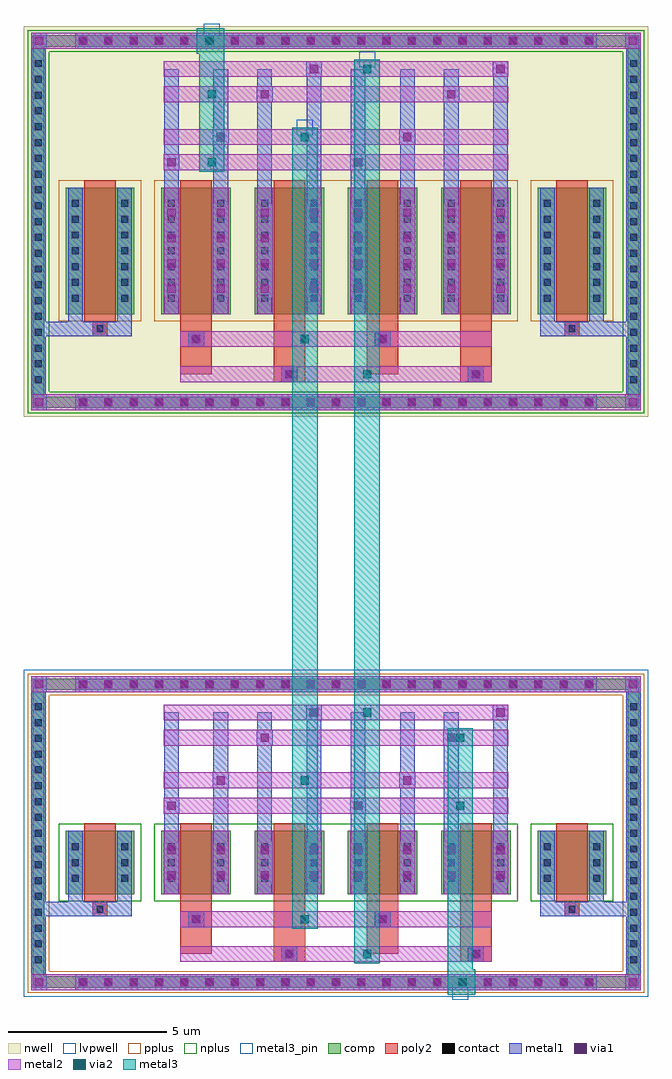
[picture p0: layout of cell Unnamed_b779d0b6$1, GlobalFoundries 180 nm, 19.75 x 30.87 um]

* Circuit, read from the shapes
.subckt Unnamed_b779d0b6$1 VSS
XM1 VSS VSS VSS VSS nfet_03v3 w=2u l=1u m=2
XM2 Unnamed_da7ad64b_1/VMID1 Unnamed_da7ad64b_1/VMID1 VSS VSS nfet_03v3 w=2u l=1u m=2
XM3 Unnamed_821312c5_2/VMID2 Unnamed_821312c5_2/VMID2 VSS VSS nfet_03v3 w=2u l=1u m=2
XM4 Unnamed_36bb551c_0/VRECT Unnamed_36bb551c_0/VRECT Unnamed_36bb551c_0/VRECT Unnamed_36bb551c_0/VRECT pfet_03v3 w=4u l=1u m=2
XM5 Unnamed_da7ad64b_1/VMID1 Unnamed_da7ad64b_1/VMID1 Unnamed_36bb551c_0/VRECT Unnamed_36bb551c_0/VRECT pfet_03v3 w=4u l=1u m=2
XM6 Unnamed_821312c5_2/VMID2 Unnamed_821312c5_2/VMID2 Unnamed_36bb551c_0/VRECT Unnamed_36bb551c_0/VRECT pfet_03v3 w=4u l=1u m=2
.ends

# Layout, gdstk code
import gdstk
lib = gdstk.Library(unit=1e-6, precision=5e-09)
def R(c, l, rs):  # rectangles x0, y0, x1, y1
    for r in rs: c.add(gdstk.rectangle(r[:2], r[2:], *l))
def A(c, l, x, y, w, h, nx, ny, dx, dy):  # array of equal rectangles
    R(c, l, [(x+i*dx, y+j*dy, x+i*dx+w, y+j*dy+h) for i in range(nx) for j in range(ny)])
def P(c, l, *ps):  # polygons
    for p in ps: c.add(gdstk.Polygon(p, *l))
nwell = (21, 0)
comp = (22, 0)
poly2 = (30, 0)
pplus = (31, 0)
nplus = (32, 0)
contact = (33, 0)
metal1 = (34, 0)
via1 = (35, 0)
metal2 = (36, 0)
via2 = (38, 0)
metal3 = (42, 0)
metal3_pin = (42, 10)
lvpwell = (204, 0)

compass_65197a3d_4 = lib.new_cell('compass_65197a3d$4')
R(compass_65197a3d_4, metal3_pin, [(-0.25,-0.25,0.25,0.25)])

unnamed_36bb551c = lib.new_cell('Unnamed_36bb551c')
unnamed_36bb551c.add(gdstk.Reference(compass_65197a3d_4, (0,0)))
unnamed_36bb551c.add(gdstk.Label('VRECT', (0,0), layer=42, texttype=10))

compass_65197a3d_5 = lib.new_cell('compass_65197a3d$5')
R(compass_65197a3d_5, metal3_pin, [(-0.25,-0.25,0.25,0.25)])

unnamed_da7ad64b = lib.new_cell('Unnamed_da7ad64b')
unnamed_da7ad64b.add(gdstk.Reference(compass_65197a3d_5, (0,0)))
unnamed_da7ad64b.add(gdstk.Label('VMID1', (0,0), layer=42, texttype=10))

compass_65197a3d_6 = lib.new_cell('compass_65197a3d$6')
R(compass_65197a3d_6, metal3_pin, [(-0.25,-0.25,0.25,0.25)])

unnamed_821312c5 = lib.new_cell('Unnamed_821312c5')
unnamed_821312c5.add(gdstk.Reference(compass_65197a3d_6, (0,0)))
unnamed_821312c5.add(gdstk.Label('VMID2', (0,0), layer=42, texttype=10))

compass_65197a3d_7 = lib.new_cell('compass_65197a3d$7')
R(compass_65197a3d_7, metal3_pin, [(-0.25,-0.25,0.25,0.25)])

unnamed_ed80099e = lib.new_cell('Unnamed_ed80099e')
unnamed_ed80099e.add(gdstk.Reference(compass_65197a3d_7, (0,0)))
unnamed_ed80099e.add(gdstk.Label('VSS', (0,0), layer=42, texttype=10))

unnamed_b779d0b6_1 = lib.new_cell('Unnamed_b779d0b6$1')
R(unnamed_b779d0b6_1, nwell, [(-9.875,13.17,9.875,25.52), (-9.715,13.33,9.715,25.36)])
A(unnamed_b779d0b6_1, comp, -8.18, -4.89, 0.36, 0.36, 21, 2, 0.8, 9.42)
A(unnamed_b779d0b6_1, comp, -9.595, -4.18, 0.36, 0.36, 1, 17, 0, 0.5)
A(unnamed_b779d0b6_1, comp, 9.235, -4.18, 0.36, 0.36, 1, 17, 0, 0.5)
A(unnamed_b779d0b6_1, comp, -5.525, -1.93, 2.2, 2, 4, 1, 2.95, 0)
A(unnamed_b779d0b6_1, comp, -8.18, 13.45, 0.36, 0.36, 21, 2, 0.8, 11.43)
A(unnamed_b779d0b6_1, comp, -9.595, 14.165, 0.36, 0.36, 1, 21, 0, 0.5)
A(unnamed_b779d0b6_1, comp, 9.235, 14.165, 0.36, 0.36, 1, 21, 0, 0.5)
A(unnamed_b779d0b6_1, comp, -5.525, 16.42, 2.2, 4, 4, 1, 2.95, 0)
R(unnamed_b779d0b6_1, comp, [(-8.18,-4.89,8.18,-4.53), (-9.595,-4.18,-9.235,4.18), (9.235,-4.18,9.595,4.18), (-8.545,-1.93,-6.385,0.07), (6.385,-1.93,8.545,0.07), (-8.18,4.53,8.18,4.89), (-8.18,13.45,8.18,13.81), (-9.595,14.165,-9.235,24.525), (9.235,14.165,9.595,24.525), (-8.545,16.42,-6.385,20.42), (6.385,16.42,8.545,20.42), (-8.18,24.88,8.18,25.24)])
P(unnamed_b779d0b6_1, comp, [(9.595,25.24),(-9.595,25.24),(-9.595,13.81),(-9.235,13.81),(-9.235,24.88),(9.235,24.88),(9.235,13.81),(-9.235,13.81),(-9.595,13.81),(-9.595,13.45),(9.595,13.45)],
  [(9.595,4.89),(-9.595,4.89),(-9.595,-4.53),(-9.235,-4.53),(-9.235,4.53),(9.235,4.53),(9.235,-4.53),(-9.235,-4.53),(-9.595,-4.53),(-9.595,-4.89),(9.595,-4.89)])
A(unnamed_b779d0b6_1, poly2, -4.925, -2.17, 1, 2.48, 4, 1, 2.95, 0)
A(unnamed_b779d0b6_1, poly2, -4.925, 16.18, 1, 4.48, 4, 1, 2.95, 0)
R(unnamed_b779d0b6_1, poly2, [(-1.975,-4.07,-0.975,-3.57), (3.925,-4.07,4.925,-3.57), (-1.655,-4,-1.295,-3.64), (4.245,-4,4.605,-3.64), (-4.925,-3.82,-3.925,-2.17), (0.975,-3.82,1.975,-2.17), (-1.975,-3.57,-0.975,-2.17), (3.925,-3.57,4.925,-2.17), (-4.925,-2.97,-3.925,-2.47), (0.975,-2.97,1.975,-2.47), (-4.605,-2.9,-4.245,-2.54), (1.295,-2.9,1.655,-2.54), (-7.695,-2.63,-7.235,-2.17), (7.235,-2.63,7.695,-2.17), (-7.645,-2.58,-7.285,-2.22), (7.285,-2.58,7.645,-2.22), (-4.925,-2.47,-3.925,-2.17), (0.975,-2.47,1.975,-2.17), (-7.965,-2.17,-6.965,0.31), (6.965,-2.17,7.965,0.31), (-1.975,14.27,-0.975,14.77), (3.925,14.27,4.925,14.77), (-1.655,14.34,-1.295,14.7), (4.245,14.34,4.605,14.7), (-4.925,14.52,-3.925,16.18), (0.975,14.52,1.975,16.18), (-1.975,14.77,-0.975,16.18), (3.925,14.77,4.925,16.18), (-4.925,15.38,-3.925,15.88), (0.975,15.38,1.975,15.88), (-4.605,15.45,-4.245,15.81), (1.295,15.45,1.655,15.81), (-7.695,15.72,-7.235,16.18), (7.235,15.72,7.695,16.18), (-7.645,15.77,-7.285,16.13), (7.285,15.77,7.645,16.13), (-4.925,15.88,-3.925,16.18), (0.975,15.88,1.975,16.18), (-7.965,16.18,-6.965,20.66), (6.965,16.18,7.965,20.66)])
A(unnamed_b779d0b6_1, pplus, -5.755, 16.19, 2.66, 4.46, 4, 1, 2.95, 0)
R(unnamed_b779d0b6_1, pplus, [(-8.775,16.19,-6.155,20.65), (-5.755,16.19,5.755,20.65), (6.155,16.19,8.775,20.65)])
P(unnamed_b779d0b6_1, pplus, [(9.755,5.05),(-9.755,5.05),(-9.755,-4.37),(-9.075,-4.37),(-9.075,4.37),(9.075,4.37),(9.075,-4.37),(-9.075,-4.37),(-9.755,-4.37),(-9.755,-5.05),(9.755,-5.05)])
A(unnamed_b779d0b6_1, nplus, -5.755, -2.16, 2.66, 2.46, 4, 1, 2.95, 0)
R(unnamed_b779d0b6_1, nplus, [(-8.775,-2.16,-6.155,0.3), (-5.755,-2.16,5.755,0.3), (6.155,-2.16,8.775,0.3)])
P(unnamed_b779d0b6_1, nplus, [(9.755,25.4),(-9.755,25.4),(-9.755,13.97),(-9.075,13.97),(-9.075,24.72),(9.075,24.72),(9.075,13.97),(-9.075,13.97),(-9.755,13.97),(-9.755,13.29),(9.755,13.29)])
A(unnamed_b779d0b6_1, contact, -8.11, -4.82, 0.22, 0.22, 21, 2, 0.8, 9.42)
A(unnamed_b779d0b6_1, contact, -9.525, -4.11, 0.22, 0.22, 1, 17, 0, 0.5)
A(unnamed_b779d0b6_1, contact, 9.305, -4.11, 0.22, 0.22, 1, 17, 0, 0.5)
A(unnamed_b779d0b6_1, contact, -8.355, -1.54, 0.22, 0.22, 1, 3, 0, 0.5)
A(unnamed_b779d0b6_1, contact, -6.795, -1.54, 0.22, 0.22, 1, 3, 0, 0.5)
A(unnamed_b779d0b6_1, contact, -5.315, -1.54, 0.22, 0.22, 1, 3, 0, 0.5)
A(unnamed_b779d0b6_1, contact, -3.755, -1.54, 0.22, 0.22, 1, 3, 0, 0.5)
A(unnamed_b779d0b6_1, contact, -2.365, -1.54, 0.22, 0.22, 1, 3, 0, 0.5)
A(unnamed_b779d0b6_1, contact, -0.805, -1.54, 0.22, 0.22, 1, 3, 0, 0.5)
A(unnamed_b779d0b6_1, contact, 0.585, -1.54, 0.22, 0.22, 1, 3, 0, 0.5)
A(unnamed_b779d0b6_1, contact, 2.145, -1.54, 0.22, 0.22, 1, 3, 0, 0.5)
A(unnamed_b779d0b6_1, contact, 3.535, -1.54, 0.22, 0.22, 1, 3, 0, 0.5)
A(unnamed_b779d0b6_1, contact, 5.095, -1.54, 0.22, 0.22, 1, 3, 0, 0.5)
A(unnamed_b779d0b6_1, contact, 6.575, -1.54, 0.22, 0.22, 1, 3, 0, 0.5)
A(unnamed_b779d0b6_1, contact, 8.135, -1.54, 0.22, 0.22, 1, 3, 0, 0.5)
A(unnamed_b779d0b6_1, contact, -8.11, 13.52, 0.22, 0.22, 21, 2, 0.8, 11.43)
A(unnamed_b779d0b6_1, contact, -9.525, 14.235, 0.22, 0.22, 1, 21, 0, 0.5)
A(unnamed_b779d0b6_1, contact, 9.305, 14.235, 0.22, 0.22, 1, 21, 0, 0.5)
A(unnamed_b779d0b6_1, contact, -8.355, 16.81, 0.22, 0.22, 1, 7, 0, 0.5)
A(unnamed_b779d0b6_1, contact, -6.795, 16.81, 0.22, 0.22, 1, 7, 0, 0.5)
A(unnamed_b779d0b6_1, contact, -5.315, 16.81, 0.22, 0.22, 1, 7, 0, 0.5)
A(unnamed_b779d0b6_1, contact, -3.755, 16.81, 0.22, 0.22, 1, 7, 0, 0.5)
A(unnamed_b779d0b6_1, contact, -2.365, 16.81, 0.22, 0.22, 1, 7, 0, 0.5)
A(unnamed_b779d0b6_1, contact, -0.805, 16.81, 0.22, 0.22, 1, 7, 0, 0.5)
A(unnamed_b779d0b6_1, contact, 0.585, 16.81, 0.22, 0.22, 1, 7, 0, 0.5)
A(unnamed_b779d0b6_1, contact, 2.145, 16.81, 0.22, 0.22, 1, 7, 0, 0.5)
A(unnamed_b779d0b6_1, contact, 3.535, 16.81, 0.22, 0.22, 1, 7, 0, 0.5)
A(unnamed_b779d0b6_1, contact, 5.095, 16.81, 0.22, 0.22, 1, 7, 0, 0.5)
A(unnamed_b779d0b6_1, contact, 6.575, 16.81, 0.22, 0.22, 1, 7, 0, 0.5)
A(unnamed_b779d0b6_1, contact, 8.135, 16.81, 0.22, 0.22, 1, 7, 0, 0.5)
R(unnamed_b779d0b6_1, contact, [(-1.585,-3.93,-1.365,-3.71), (4.315,-3.93,4.535,-3.71), (-4.535,-2.83,-4.315,-2.61), (1.365,-2.83,1.585,-2.61), (-7.575,-2.51,-7.355,-2.29), (7.355,-2.51,7.575,-2.29), (-1.585,14.41,-1.365,14.63), (4.315,14.41,4.535,14.63), (-4.535,15.52,-4.315,15.74), (1.365,15.52,1.585,15.74), (-7.575,15.84,-7.355,16.06), (7.355,15.84,7.575,16.06)])
A(unnamed_b779d0b6_1, metal1, -8.25, -4.96, 0.5, 0.5, 21, 2, 0.8, 9.42)
A(unnamed_b779d0b6_1, metal1, -9.645, -4.23, 0.46, 0.46, 1, 17, 0, 0.5)
A(unnamed_b779d0b6_1, metal1, 9.185, -4.23, 0.46, 0.46, 1, 17, 0, 0.5)
A(unnamed_b779d0b6_1, metal1, -8.475, -1.66, 0.46, 0.46, 1, 3, 0, 0.5)
A(unnamed_b779d0b6_1, metal1, -6.915, -1.66, 0.46, 0.46, 1, 3, 0, 0.5)
A(unnamed_b779d0b6_1, metal1, -5.435, -1.66, 0.46, 0.46, 1, 3, 0, 0.5)
A(unnamed_b779d0b6_1, metal1, -3.875, -1.66, 0.46, 0.46, 1, 3, 0, 0.5)
A(unnamed_b779d0b6_1, metal1, -2.485, -1.66, 0.46, 0.46, 1, 3, 0, 0.5)
A(unnamed_b779d0b6_1, metal1, -0.925, -1.66, 0.46, 0.46, 1, 3, 0, 0.5)
A(unnamed_b779d0b6_1, metal1, 0.465, -1.66, 0.46, 0.46, 1, 3, 0, 0.5)
A(unnamed_b779d0b6_1, metal1, 2.025, -1.66, 0.46, 0.46, 1, 3, 0, 0.5)
A(unnamed_b779d0b6_1, metal1, 3.415, -1.66, 0.46, 0.46, 1, 3, 0, 0.5)
A(unnamed_b779d0b6_1, metal1, 4.975, -1.66, 0.46, 0.46, 1, 3, 0, 0.5)
A(unnamed_b779d0b6_1, metal1, 6.455, -1.66, 0.46, 0.46, 1, 3, 0, 0.5)
A(unnamed_b779d0b6_1, metal1, 8.015, -1.66, 0.46, 0.46, 1, 3, 0, 0.5)
A(unnamed_b779d0b6_1, metal1, -8.25, 13.38, 0.5, 0.5, 21, 2, 0.8, 11.43)
A(unnamed_b779d0b6_1, metal1, -9.645, 14.115, 0.46, 0.46, 1, 21, 0, 0.5)
A(unnamed_b779d0b6_1, metal1, 9.185, 14.115, 0.46, 0.46, 1, 21, 0, 0.5)
A(unnamed_b779d0b6_1, metal1, -8.475, 16.69, 0.46, 0.46, 1, 7, 0, 0.5)
A(unnamed_b779d0b6_1, metal1, -6.915, 16.69, 0.46, 0.46, 1, 7, 0, 0.5)
A(unnamed_b779d0b6_1, metal1, -5.435, 16.69, 0.46, 0.46, 1, 7, 0, 0.5)
A(unnamed_b779d0b6_1, metal1, -3.875, 16.69, 0.46, 0.46, 1, 7, 0, 0.5)
A(unnamed_b779d0b6_1, metal1, -2.485, 16.69, 0.46, 0.46, 1, 7, 0, 0.5)
A(unnamed_b779d0b6_1, metal1, -0.925, 16.69, 0.46, 0.46, 1, 7, 0, 0.5)
A(unnamed_b779d0b6_1, metal1, 0.465, 16.69, 0.46, 0.46, 1, 7, 0, 0.5)
A(unnamed_b779d0b6_1, metal1, 2.025, 16.69, 0.46, 0.46, 1, 7, 0, 0.5)
A(unnamed_b779d0b6_1, metal1, 3.415, 16.69, 0.46, 0.46, 1, 7, 0, 0.5)
A(unnamed_b779d0b6_1, metal1, 4.975, 16.69, 0.46, 0.46, 1, 7, 0, 0.5)
A(unnamed_b779d0b6_1, metal1, 6.455, 16.69, 0.46, 0.46, 1, 7, 0, 0.5)
A(unnamed_b779d0b6_1, metal1, 8.015, 16.69, 0.46, 0.46, 1, 7, 0, 0.5)
A(unnamed_b779d0b6_1, metal1, -5.455, 16.97, 0.5, 0.5, 1, 4, 0, 0.8)
A(unnamed_b779d0b6_1, metal1, -3.895, 16.97, 0.5, 0.5, 1, 4, 0, 0.8)
A(unnamed_b779d0b6_1, metal1, -2.505, 16.97, 0.5, 0.5, 1, 4, 0, 0.8)
A(unnamed_b779d0b6_1, metal1, -0.945, 16.97, 0.5, 0.5, 1, 4, 0, 0.8)
A(unnamed_b779d0b6_1, metal1, 0.445, 16.97, 0.5, 0.5, 1, 4, 0, 0.8)
A(unnamed_b779d0b6_1, metal1, 2.005, 16.97, 0.5, 0.5, 1, 4, 0, 0.8)
A(unnamed_b779d0b6_1, metal1, 3.395, 16.97, 0.5, 0.5, 1, 4, 0, 0.8)
A(unnamed_b779d0b6_1, metal1, 4.955, 16.97, 0.5, 0.5, 1, 4, 0, 0.8)
R(unnamed_b779d0b6_1, metal1, [(-9.645,-4.96,-9.145,-4.46), (-9.645,-4.96,-9.145,-4.46), (-9.645,-4.96,-9.185,-4.53), (-8.25,-4.96,8.25,-4.46), (9.145,-4.96,9.645,-4.46), (9.145,-4.96,9.645,-4.46), (9.185,-4.96,9.645,-4.53), (-9.645,-4.53,-9.185,4.53), (9.185,-4.53,9.645,4.53), (-1.725,-4.07,-1.225,-3.57), (4.175,-4.07,4.675,-3.57), (-4.675,-2.97,-4.175,-2.47), (1.225,-2.97,1.725,-2.47), (-9.645,-2.63,-7.695,-2.17), (-8.475,-2.63,-7.695,-2.17), (-8.475,-2.63,-8.015,-1.93), (-7.695,-2.63,-7.235,-2.17), (-7.235,-2.63,-6.455,-2.17), (-6.915,-2.63,-6.455,-1.93), (6.455,-2.63,7.235,-2.17), (6.455,-2.63,6.915,-1.93), (7.235,-2.63,7.695,-2.17), (7.695,-2.63,8.475,-2.17), (7.695,-2.63,9.645,-2.17), (8.015,-2.63,8.475,-1.93), (-8.475,-1.93,-8.015,0.07), (-6.915,-1.93,-6.455,0.07), (-5.435,-1.93,-4.975,0.07), (-3.875,-1.93,-3.415,0.07), (-2.485,-1.93,-2.025,0.07), (-0.925,-1.93,-0.465,0.07), (0.465,-1.93,0.925,0.07), (2.025,-1.93,2.485,0.07), (3.415,-1.93,3.875,0.07), (4.975,-1.93,5.435,0.07), (6.455,-1.93,6.915,0.07), (8.015,-1.93,8.475,0.07), (-5.455,-1.58,-4.955,-1.08), (-5.455,-1.58,-4.955,-0.28), (-3.895,-1.58,-3.395,-1.08), (-3.895,-1.58,-3.395,-0.28), (-2.505,-1.58,-2.005,-1.08), (-2.505,-1.58,-2.005,-0.28), (-0.945,-1.58,-0.445,-1.08), (-0.945,-1.58,-0.445,-0.28), (0.445,-1.58,0.945,-1.08), (0.445,-1.58,0.945,-0.28), (2.005,-1.58,2.505,-1.08), (2.005,-1.58,2.505,-0.28), (3.395,-1.58,3.895,-1.08), (3.395,-1.58,3.895,-0.28), (4.955,-1.58,5.455,-1.08), (4.955,-1.58,5.455,-0.28), (-5.455,-0.78,-4.955,-0.28), (-3.895,-0.78,-3.395,-0.28), (-2.505,-0.78,-2.005,-0.28), (-0.945,-0.78,-0.445,-0.28), (0.445,-0.78,0.945,-0.28), (2.005,-0.78,2.505,-0.28), (3.395,-0.78,3.895,-0.28), (4.955,-0.78,5.455,-0.28), (-5.435,0.07,-4.975,1.12), (-5.435,0.07,-4.975,3.82), (-3.875,0.07,-3.415,1.92), (-3.875,0.07,-3.415,3.82), (-2.485,0.07,-2.025,3.27), (-2.485,0.07,-2.025,3.82), (-0.925,0.07,-0.465,4.07), (-0.925,0.07,-0.465,3.82), (0.465,0.07,0.925,1.12), (0.465,0.07,0.925,3.82), (2.025,0.07,2.485,1.92), (2.025,0.07,2.485,3.82), (3.415,0.07,3.875,3.27), (3.415,0.07,3.875,3.82), (4.975,0.07,5.435,4.07), (4.975,0.07,5.435,3.82), (-5.455,0.62,-4.955,1.12), (0.445,0.62,0.945,1.12), (-3.895,1.42,-3.395,1.92), (2.005,1.42,2.505,1.92), (-2.505,2.77,-2.005,3.27), (3.395,2.77,3.895,3.27), (-0.945,3.57,-0.445,4.07), (4.955,3.57,5.455,4.07), (-9.645,4.46,-9.145,4.96), (-9.645,4.46,-9.145,4.96), (-8.25,4.46,8.25,4.96), (9.145,4.46,9.645,4.96), (9.145,4.46,9.645,4.96), (-9.645,4.53,-9.185,4.96), (9.185,4.53,9.645,4.96), (-9.645,13.38,-9.145,13.88), (-9.645,13.38,-9.145,13.88), (-9.645,13.38,-9.185,13.81), (-8.25,13.38,8.25,13.88), (9.145,13.38,9.645,13.88), (9.145,13.38,9.645,13.88), (9.185,13.38,9.645,13.81), (-9.645,13.81,-9.185,24.88), (9.185,13.81,9.645,24.88), (-1.725,14.27,-1.225,14.77), (4.175,14.27,4.675,14.77), (-4.675,15.38,-4.175,15.88), (1.225,15.38,1.725,15.88), (-9.645,15.72,-7.695,16.18), (-8.475,15.72,-7.695,16.18), (-8.475,15.72,-8.015,16.42), (-7.695,15.72,-7.235,16.18), (-7.235,15.72,-6.455,16.18), (-6.915,15.72,-6.455,16.42), (6.455,15.72,7.235,16.18), (6.455,15.72,6.915,16.42), (7.235,15.72,7.695,16.18), (7.695,15.72,8.475,16.18), (7.695,15.72,9.645,16.18), (8.015,15.72,8.475,16.42), (-8.475,16.42,-8.015,20.42), (-6.915,16.42,-6.455,20.42), (-5.435,16.42,-4.975,20.42), (-3.875,16.42,-3.415,20.42), (-2.485,16.42,-2.025,20.42), (-0.925,16.42,-0.465,20.42), (0.465,16.42,0.925,20.42), (2.025,16.42,2.485,20.42), (3.415,16.42,3.875,20.42), (4.975,16.42,5.435,20.42), (6.455,16.42,6.915,20.42), (8.015,16.42,8.475,20.42), (-5.455,16.97,-4.955,19.87), (-3.895,16.97,-3.395,19.87), (-2.505,16.97,-2.005,19.87), (-0.945,16.97,-0.445,19.87), (0.445,16.97,0.945,19.87), (2.005,16.97,2.505,19.87), (3.395,16.97,3.895,19.87), (4.955,16.97,5.455,19.87), (-5.435,20.42,-4.975,21.47), (-5.435,20.42,-4.975,24.17), (-3.875,20.42,-3.415,22.27), (-3.875,20.42,-3.415,24.17), (-2.485,20.42,-2.025,23.62), (-2.485,20.42,-2.025,24.17), (-0.925,20.42,-0.465,24.42), (-0.925,20.42,-0.465,24.17), (0.465,20.42,0.925,21.47), (0.465,20.42,0.925,24.17), (2.025,20.42,2.485,22.27), (2.025,20.42,2.485,24.17), (3.415,20.42,3.875,23.62), (3.415,20.42,3.875,24.17), (4.975,20.42,5.435,24.42), (4.975,20.42,5.435,24.17), (-5.455,20.97,-4.955,21.47), (0.445,20.97,0.945,21.47), (-3.895,21.77,-3.395,22.27), (2.005,21.77,2.505,22.27), (-2.505,23.12,-2.005,23.62), (3.395,23.12,3.895,23.62), (-0.945,23.92,-0.445,24.42), (4.955,23.92,5.455,24.42), (-9.645,24.81,-9.145,25.31), (-9.645,24.81,-9.145,25.31), (-8.25,24.81,8.25,25.31), (9.145,24.81,9.645,25.31), (9.145,24.81,9.645,25.31), (-9.645,24.88,-9.185,25.31), (9.185,24.88,9.645,25.31)])
A(unnamed_b779d0b6_1, via1, -8.13, -4.84, 0.26, 0.26, 21, 2, 0.8, 9.42)
A(unnamed_b779d0b6_1, via1, -8.13, 13.5, 0.26, 0.26, 21, 2, 0.8, 11.43)
A(unnamed_b779d0b6_1, via1, -5.335, 17.09, 0.26, 0.26, 1, 4, 0, 0.8)
A(unnamed_b779d0b6_1, via1, -3.775, 17.09, 0.26, 0.26, 1, 4, 0, 0.8)
A(unnamed_b779d0b6_1, via1, -2.385, 17.09, 0.26, 0.26, 1, 4, 0, 0.8)
A(unnamed_b779d0b6_1, via1, -0.825, 17.09, 0.26, 0.26, 1, 4, 0, 0.8)
A(unnamed_b779d0b6_1, via1, 0.565, 17.09, 0.26, 0.26, 1, 4, 0, 0.8)
A(unnamed_b779d0b6_1, via1, 2.125, 17.09, 0.26, 0.26, 1, 4, 0, 0.8)
A(unnamed_b779d0b6_1, via1, 3.515, 17.09, 0.26, 0.26, 1, 4, 0, 0.8)
A(unnamed_b779d0b6_1, via1, 5.075, 17.09, 0.26, 0.26, 1, 4, 0, 0.8)
R(unnamed_b779d0b6_1, via1, [(-9.525,-4.84,-9.265,-4.58), (9.265,-4.84,9.525,-4.58), (-1.605,-3.95,-1.345,-3.69), (4.295,-3.95,4.555,-3.69), (-4.555,-2.85,-4.295,-2.59), (1.345,-2.85,1.605,-2.59), (-5.335,-1.46,-5.075,-1.2), (-3.775,-1.46,-3.515,-1.2), (-2.385,-1.46,-2.125,-1.2), (-0.825,-1.46,-0.565,-1.2), (0.565,-1.46,0.825,-1.2), (2.125,-1.46,2.385,-1.2), (3.515,-1.46,3.775,-1.2), (5.075,-1.46,5.335,-1.2), (-5.335,-0.66,-5.075,-0.4), (-3.775,-0.66,-3.515,-0.4), (-2.385,-0.66,-2.125,-0.4), (-0.825,-0.66,-0.565,-0.4), (0.565,-0.66,0.825,-0.4), (2.125,-0.66,2.385,-0.4), (3.515,-0.66,3.775,-0.4), (5.075,-0.66,5.335,-0.4), (-5.335,0.74,-5.075,1), (0.565,0.74,0.825,1), (-3.775,1.54,-3.515,1.8), (2.125,1.54,2.385,1.8), (-2.385,2.89,-2.125,3.15), (3.515,2.89,3.775,3.15), (-0.825,3.69,-0.565,3.95), (5.075,3.69,5.335,3.95), (-9.525,4.58,-9.265,4.84), (9.265,4.58,9.525,4.84), (-9.525,13.5,-9.265,13.76), (9.265,13.5,9.525,13.76), (-1.605,14.39,-1.345,14.65), (4.295,14.39,4.555,14.65), (-4.555,15.5,-4.295,15.76), (1.345,15.5,1.605,15.76), (-5.335,21.09,-5.075,21.35), (0.565,21.09,0.825,21.35), (-3.775,21.89,-3.515,22.15), (2.125,21.89,2.385,22.15), (-2.385,23.24,-2.125,23.5), (3.515,23.24,3.775,23.5), (-0.825,24.04,-0.565,24.3), (5.075,24.04,5.335,24.3), (-9.525,24.93,-9.265,25.19), (9.265,24.93,9.525,25.19)])
A(unnamed_b779d0b6_1, metal2, -8.25, -4.96, 0.5, 0.5, 16, 1, 0.8, 0)
A(unnamed_b779d0b6_1, metal2, 3.75, -4.96, 0.5, 0.5, 6, 1, 0.8, 0)
A(unnamed_b779d0b6_1, metal2, -8.25, 4.46, 0.5, 0.5, 21, 2, 0.8, 8.92)
A(unnamed_b779d0b6_1, metal2, -5.455, 16.97, 0.5, 0.5, 1, 4, 0, 0.8)
A(unnamed_b779d0b6_1, metal2, -3.895, 16.97, 0.5, 0.5, 1, 4, 0, 0.8)
A(unnamed_b779d0b6_1, metal2, -2.505, 16.97, 0.5, 0.5, 1, 4, 0, 0.8)
A(unnamed_b779d0b6_1, metal2, -0.945, 16.97, 0.5, 0.5, 1, 4, 0, 0.8)
A(unnamed_b779d0b6_1, metal2, 0.445, 16.97, 0.5, 0.5, 1, 4, 0, 0.8)
A(unnamed_b779d0b6_1, metal2, 2.005, 16.97, 0.5, 0.5, 1, 4, 0, 0.8)
A(unnamed_b779d0b6_1, metal2, 3.395, 16.97, 0.5, 0.5, 1, 4, 0, 0.8)
A(unnamed_b779d0b6_1, metal2, 4.955, 16.97, 0.5, 0.5, 1, 4, 0, 0.8)
A(unnamed_b779d0b6_1, metal2, -8.25, 24.81, 0.5, 0.5, 6, 1, 0.8, 0)
A(unnamed_b779d0b6_1, metal2, -4.25, 24.81, 0.5, 0.5, 16, 1, 0.8, 0)
R(unnamed_b779d0b6_1, metal2, [(-9.645,-4.96,-9.145,-4.46), (-9.645,-4.96,-9.145,-4.46), (-9.645,-4.96,-9.235,-4.46), (-9.235,-4.96,9.235,-4.46), (9.145,-4.96,9.645,-4.46), (9.145,-4.96,9.645,-4.46), (9.235,-4.96,9.645,-4.46), (-4.925,-4.07,4.925,-3.57), (-1.975,-4.07,-0.975,-3.57), (-1.725,-4.07,-1.225,-3.57), (0.735,-4.07,1.235,-3.57), (3.925,-4.07,4.925,-3.57), (4.175,-4.07,4.675,-3.57), (-4.925,-2.97,-3.925,-2.47), (-4.925,-2.97,4.925,-2.47), (-4.675,-2.97,-4.175,-2.47), (-1.235,-2.97,-0.735,-2.47), (0.975,-2.97,1.975,-2.47), (1.225,-2.97,1.725,-2.47), (-5.455,-1.93,-4.955,0.07), (-3.895,-1.93,-3.395,0.07), (-2.505,-1.93,-2.005,0.07), (-0.945,-1.93,-0.445,0.07), (0.445,-1.93,0.945,0.07), (2.005,-1.93,2.505,0.07), (3.395,-1.93,3.895,0.07), (4.955,-1.93,5.455,0.07), (-5.455,-1.58,-4.955,-1.08), (-3.895,-1.58,-3.395,-1.08), (-2.505,-1.58,-2.005,-1.08), (-0.945,-1.58,-0.445,-1.08), (0.445,-1.58,0.945,-1.08), (2.005,-1.58,2.505,-1.08), (3.395,-1.58,3.895,-1.08), (4.955,-1.58,5.455,-1.08), (-5.455,-0.78,-4.955,-0.28), (-3.895,-0.78,-3.395,-0.28), (-2.505,-0.78,-2.005,-0.28), (-0.945,-0.78,-0.445,-0.28), (0.445,-0.78,0.945,-0.28), (2.005,-0.78,2.505,-0.28), (3.395,-0.78,3.895,-0.28), (4.955,-0.78,5.455,-0.28), (-5.455,0.62,-4.955,1.12), (-5.455,0.62,-3.395,1.12), (-5.455,0.62,5.455,1.12), (0.445,0.62,0.945,1.12), (0.445,0.62,2.505,1.12), (3.68,0.62,4.18,1.12), (-5.455,1.42,-3.395,1.92), (-5.455,1.42,5.455,1.92), (-3.895,1.42,-3.395,1.92), (-1.235,1.42,-0.735,1.92), (0.445,1.42,2.505,1.92), (2.005,1.42,2.505,1.92), (-5.455,2.77,5.455,3.27), (-2.505,2.77,-2.005,3.27), (-2.505,2.77,-0.445,3.27), (3.395,2.77,3.895,3.27), (3.395,2.77,5.455,3.27), (3.68,2.77,4.18,3.27), (-5.455,3.57,5.455,4.07), (-2.505,3.57,-0.445,4.07), (-0.945,3.57,-0.445,4.07), (0.735,3.57,1.235,4.07), (3.395,3.57,5.455,4.07), (4.955,3.57,5.455,4.07), (-9.645,4.46,-9.145,4.96), (-9.645,4.46,-9.145,4.96), (-9.645,4.46,-9.235,4.96), (-9.235,4.46,9.235,4.96), (9.145,4.46,9.645,4.96), (9.145,4.46,9.645,4.96), (9.235,4.46,9.645,4.96), (-9.645,13.38,-9.145,13.88), (-9.645,13.38,-9.145,13.88), (-9.645,13.38,-9.235,13.88), (-9.235,13.38,9.235,13.88), (9.145,13.38,9.645,13.88), (9.145,13.38,9.645,13.88), (9.235,13.38,9.645,13.88), (-4.925,14.27,4.925,14.77), (-1.975,14.27,-0.975,14.77), (-1.725,14.27,-1.225,14.77), (0.735,14.27,1.235,14.77), (3.925,14.27,4.925,14.77), (4.175,14.27,4.675,14.77), (-4.925,15.38,-3.925,15.88), (-4.925,15.38,4.925,15.88), (-4.675,15.38,-4.175,15.88), (-1.235,15.38,-0.735,15.88), (0.975,15.38,1.975,15.88), (1.225,15.38,1.725,15.88), (-5.455,16.42,-4.955,20.42), (-3.895,16.42,-3.395,20.42), (-2.505,16.42,-2.005,20.42), (-0.945,16.42,-0.445,20.42), (0.445,16.42,0.945,20.42), (2.005,16.42,2.505,20.42), (3.395,16.42,3.895,20.42), (4.955,16.42,5.455,20.42), (-5.455,20.97,-4.955,21.47), (-5.455,20.97,-3.395,21.47), (-5.455,20.97,5.455,21.47), (-4.18,20.97,-3.68,21.47), (0.445,20.97,0.945,21.47), (0.445,20.97,2.505,21.47), (-5.455,21.77,-3.395,22.27), (-5.455,21.77,5.455,22.27), (-3.895,21.77,-3.395,22.27), (-1.235,21.77,-0.735,22.27), (0.445,21.77,2.505,22.27), (2.005,21.77,2.505,22.27), (-5.455,23.12,5.455,23.62), (-4.18,23.12,-3.68,23.62), (-2.505,23.12,-2.005,23.62), (-2.505,23.12,-0.445,23.62), (3.395,23.12,3.895,23.62), (3.395,23.12,5.455,23.62), (-5.455,23.92,5.455,24.42), (-2.505,23.92,-0.445,24.42), (-0.945,23.92,-0.445,24.42), (0.735,23.92,1.235,24.42), (3.395,23.92,5.455,24.42), (4.955,23.92,5.455,24.42), (-9.645,24.81,-9.145,25.31), (-9.645,24.81,-9.145,25.31), (-9.645,24.81,-9.235,25.31), (-9.235,24.81,9.235,25.31), (9.145,24.81,9.645,25.31), (9.145,24.81,9.645,25.31), (9.235,24.81,9.645,25.31)])
R(unnamed_b779d0b6_1, via2, [(3.87,-4.84,4.13,-4.58), (0.855,-3.95,1.115,-3.69), (-1.115,-2.85,-0.855,-2.59), (3.8,0.74,4.06,1), (-1.115,1.54,-0.855,1.8), (3.8,2.89,4.06,3.15), (0.855,3.69,1.115,3.95), (0.855,14.39,1.115,14.65), (-1.115,15.5,-0.855,15.76), (-4.06,21.09,-3.8,21.35), (-1.115,21.89,-0.855,22.15), (-4.06,23.24,-3.8,23.5), (0.855,24.04,1.115,24.3), (-4.13,24.93,-3.87,25.19)])
R(unnamed_b779d0b6_1, metal3, [(3.53,-5.11,4.4,-4.31), (3.53,-5.01,4.33,3.32), (3.75,-4.96,4.25,-4.46), (0.585,-4.12,1.385,24.47), (0.735,-4.07,1.235,-3.57), (-1.385,-3.02,-0.585,22.32), (-1.235,-2.97,-0.735,-2.47), (3.68,0.62,4.18,1.12), (-1.235,1.42,-0.735,1.92), (3.68,2.77,4.18,3.27), (0.735,3.57,1.235,4.07), (0.735,14.27,1.235,14.77), (-1.235,15.38,-0.735,15.88), (-4.33,20.92,-3.53,25.36), (-4.18,20.97,-3.68,21.47), (-1.235,21.77,-0.735,22.27), (-4.18,23.12,-3.68,23.62), (0.735,23.92,1.235,24.42), (-4.4,24.66,-3.53,25.46), (-4.25,24.81,-3.75,25.31)])
R(unnamed_b779d0b6_1, lvpwell, [(-9.875,-5.17,9.875,5.17)])
unnamed_b779d0b6_1.add(gdstk.Reference(unnamed_36bb551c, (-3.93,25.36)))
unnamed_b779d0b6_1.add(gdstk.Reference(unnamed_da7ad64b, (-0.985,22.32)))
unnamed_b779d0b6_1.add(gdstk.Reference(unnamed_821312c5, (0.985,24.47)))
unnamed_b779d0b6_1.add(gdstk.Reference(unnamed_ed80099e, (3.93,-5.01)))

lib.write_gds('Unnamed_b779d0b6_1.gds')
